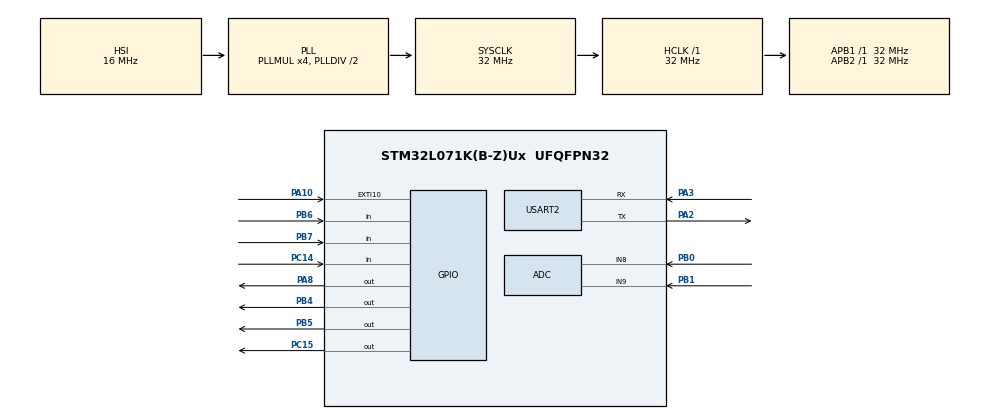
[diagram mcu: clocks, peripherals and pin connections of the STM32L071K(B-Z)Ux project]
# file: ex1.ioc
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ADC.DiscontinuousConvMode=ENABLE
Dma.MEMTOMEM.0.Direction=DMA_MEMORY_TO_MEMORY
Dma.MEMTOMEM.0.Instance=DMA1_Channel1
Dma.MEMTOMEM.0.MemDataAlignment=DMA_MDATAALIGN_BYTE
Dma.MEMTOMEM.0.MemInc=DMA_MINC_ENABLE
Dma.MEMTOMEM.0.Mode=DMA_NORMAL
Dma.MEMTOMEM.0.PeriphDataAlignment=DMA_PDATAALIGN_BYTE
Dma.MEMTOMEM.0.PeriphInc=DMA_PINC_ENABLE
Dma.MEMTOMEM.0.Priority=DMA_PRIORITY_LOW
Dma.Request0=MEMTOMEM
Dma.Request1=USART2_RX
Dma.USART2_RX.1.Direction=DMA_PERIPH_TO_MEMORY
Dma.USART2_RX.1.Instance=DMA1_Channel5
Dma.USART2_RX.1.MemDataAlignment=DMA_MDATAALIGN_BYTE
Dma.USART2_RX.1.MemInc=DMA_MINC_ENABLE
Dma.USART2_RX.1.Mode=DMA_CIRCULAR
Dma.USART2_RX.1.PeriphDataAlignment=DMA_PDATAALIGN_BYTE
Dma.USART2_RX.1.PeriphInc=DMA_PINC_DISABLE
Dma.USART2_RX.1.Priority=DMA_PRIORITY_LOW
Mcu.Family=STM32L0
Mcu.Name=STM32L071K(B-Z)Ux
Mcu.Package=UFQFPN32
NVIC.ADC1_COMP_IRQn=true\:0\:0\:false\:false\:true\:true\:true
NVIC.DMA1_Channel1_IRQn=true\:0\:0\:false\:false\:true\:true\:true
NVIC.DMA1_Channel4_5_6_7_IRQn=true\:0\:0\:false\:false\:true\:false\:true
NVIC.EXTI4_15_IRQn=true\:0\:0\:false\:false\:true\:true\:true
NVIC.TIM6_IRQn=true\:0\:0\:false\:false\:true\:true\:true
NVIC.USART2_IRQn=true\:0\:0\:false\:false\:true\:true\:true
PA10.Signal=GPXTI10
PA13.Mode=Serial_Wire
PA13.Signal=SYS_SWDIO
PA14.Mode=Serial_Wire
PA14.Signal=SYS_SWCLK
PA2.Mode=Asynchronous
PA2.Signal=USART2_TX
PA3.Mode=Asynchronous
PA3.Signal=USART2_RX
PA8.Signal=GPIO_Output
PB0.Mode=IN8
PB0.Signal=ADC_IN8
PB1.Mode=IN9
PB1.Signal=ADC_IN9
PB4.Signal=GPIO_Output
PB5.Signal=GPIO_Output
PB6.Signal=GPIO_Input
PB7.Signal=GPIO_Input
PC14-OSC32_IN.Signal=GPIO_Input
PC15-OSC32_OUT.Signal=GPIO_Output
ProjectManager.HeapSize=0x200
ProjectManager.StackSize=0x400
ProjectManager.TargetToolchain=MDK-ARM V5
RCC.AHBFreq_Value=32000000
RCC.APB1Freq_Value=32000000
RCC.APB1TimFreq_Value=32000000
RCC.APB2Freq_Value=32000000
RCC.APB2TimFreq_Value=32000000
RCC.HCLKFreq_Value=32000000
RCC.HSI16_VALUE=16000000
RCC.HSI_VALUE=16000000
RCC.LSE_VALUE=32768
RCC.MSI_VALUE=2097000
RCC.PLLMUL=RCC_PLLMUL_4
RCC.SYSCLKFreq_VALUE=32000000
RCC.SYSCLKSource=RCC_SYSCLKSOURCE_PLLCLK
RCC.VCOOutputFreq_Value=64000000
RTC.Format=RTC_FORMAT_BIN
RTC.SynchPrediv=307
TIM6.Period=999
TIM6.Prescaler=31
USART2.VirtualMode-Asynchronous=VM_ASYNC
VP_CRC_VS_CRC.Mode=CRC_Activate
VP_RTC_VS_RTC_Activate.Mode=RTC_Enabled
VP_RTC_VS_RTC_Calendar.Mode=RTC_Calendar
VP_TIM6_VS_ClockSourceINT.Mode=Enable_Timer
board=custom

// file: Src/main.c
/* USER CODE BEGIN Header */
/**
  ******************************************************************************
  * @file           : main.c
  * @brief          : Main program body
  ******************************************************************************
  * @attention
  *
  * <h2><center>&copy; Copyright (c) 2019 STMicroelectronics.
  * All rights reserved.</center></h2>
  *
  * This software component is licensed by ST under BSD 3-Clause license,
  * the "License"; You may not use this file except in compliance with the
  * License. You may obtain a copy of the License at:
  *                        opensource.org/licenses/BSD-3-Clause
  *
  ******************************************************************************
  */
/* USER CODE END Header */

#include "main.h"
#include "adc.h"
#include "crc.h"
#include "dma.h"
#include "rtc.h"
#include "tim.h"
#include "usart.h"
#include "gpio.h"

/* USER CODE BEGIN Includes */
#include "stm32l0xx_hal.h"
#include "zm4xx_gpio.h"
#include "spi.h"
#include "timer.h"
#include "stddef.h"
#include "sx127x_lora.h"

/* USER CODE END Includes */

/* USER CODE BEGIN PTD */
#define FREQ  (433000000)
void SystemClock_Config(void);
void Hardware_Init(void);
radio_handle_t  handle;
int ret = RADIO_RET_OK;

    uint16_t len = 0;
		uint8_t rx[100];
		uint8_t tx = 0x55;
		uint8_t cntr = 0;
	unsigned int time_i=0,time_100ms=1,time_800ms=1;
	unsigned int lora_flag=0;
	unsigned int key_flag=1;
	unsigned int oled_x1=0,oled_x2=0;
	float value[2];
	char lcdLine_1st_line[16];
  char lcdLine_2st_line[16];
/* USER CODE END PTD */

void SystemClock_Config(void);

/* USER CODE BEGIN 0 */
void Task_BrdInit(void)
{
    HAL_GPIO_WritePin(GPIOC, GPIO_PIN_15, GPIO_PIN_SET);

    OLED_PowerControl(ENABLE);

    HAL_Delay(200);
    OLED_Init();
    OLED_Clear();

    OLED_ShowString(0, 0, (unsigned char *)"                ", 16);
    OLED_ShowString(0, 2, (unsigned char *)"                ", 16);
}
void LoRa_Init(void)
{

	handle = radio_zm4xx_inst_init(spi_recv_byte,spi_send_byte,zm4xx_rst_pin_set,zm4xx_sel_pin_set,delay_ms,delay_us);

	if(handle != NULL){
		if(RADIO_RET_OK == radio_freq_set(handle, FREQ)){
				HAL_GPIO_WritePin(GPIOC, GPIO_PIN_15,GPIO_PIN_RESET);
		}

		radio_mode_set(handle, RX_MODE);	//Receive Mode
	}
}
void key(void);
void key_scan(void);
void node(void);
/* USER CODE END 0 */

int main(void)
{

  /* MCU Configuration--------------------------------------------------------*/

  /* Reset of all peripherals, Initializes the Flash interface and the Systick. */
  HAL_Init();

  /* Configure the system clock */
  SystemClock_Config();

  /* Initialize all configured peripherals */
  MX_GPIO_Init();
  MX_DMA_Init();
  MX_CRC_Init();
  MX_USART2_UART_Init();
  MX_RTC_Init();
  MX_TIM6_Init();
  MX_ADC_Init();
  /* USER CODE BEGIN 2 */
    Task_BrdInit();
		zm4xx_pin_init(); //LORA��Ҫ
    spi_init();//LORA��Ҫ
		LoRa_Init();
		HAL_TIM_Base_Start_IT(&htim6);
  /* USER CODE END 2 */

  /* Infinite loop */
    while (1)
    {

    /* USER CODE BEGIN 3 */
			if(time_800ms==1)
			{
				HAL_RTC_GetTime(&hrtc, &sTime, RTC_FORMAT_BIN);
				HAL_RTC_GetDate(&hrtc, &sDate, RTC_FORMAT_BIN);
				time_800ms=0;
			}
			if(time_100ms==1)
			{
				for(int i=0;i<=1;i++)
				{
					HAL_ADC_Start(&hadc);
					value[i]=HAL_ADC_GetValue(&hadc)*3.3/4095;
				}
				OLED_ShowString(oled_x1, 0, (unsigned char *)lcdLine_1st_line, 16);
				OLED_ShowString(oled_x2, 2, (unsigned char *)lcdLine_2st_line, 16);
				time_100ms=0;
			}
			key();
			node();
    }
  /* USER CODE END 3 */
}
/* USER CODE BEGIN 4 */
void node()
{
	int hour,min,sec;
	if(lora_flag==1)
	{
		sscanf((char *)rx,"%d-%d-%d",&hour,&min,&sec);
		sTime.Hours=hour;
		sTime.Minutes=min;
		sTime.Seconds=sec;
		HAL_RTC_SetTime(&hrtc, &sTime, RTC_FORMAT_BIN);
		lora_flag=0;
	}
}
void key()
{
	if(key_flag==1)
	{
		sprintf(lcdLine_1st_line, "RTC");
		sprintf(lcdLine_2st_line, "%2d-%2d-%2d",sTime.Hours,sTime.Minutes,sTime.Seconds);
		oled_x1=56;
		oled_x2=32;
	}
	if(key_flag==0)
	{
		sprintf(lcdLine_1st_line, "V1:%.2fV",value[0]);
		sprintf(lcdLine_2st_line, "V2:%.2fV",value[1]);
		oled_x1=32;
		oled_x2=32;
	}
}
void key_scan()
{
	static unsigned int i;
	if(HAL_GPIO_ReadPin(GPIOC, GPIO_PIN_14)==0)
	{
		i++;
		if(i>2)
		{
			key_flag=!key_flag;
			i=0;
		}
	}
}
void HAL_TIM_PeriodElapsedCallback(TIM_HandleTypeDef *htim)
{
	if(htim->Instance==TIM6)
	{
		time_i++;
		if(time_i==9999)	time_i=0;
		if(time_i%6==0)	key_scan();
		if(time_i%100==0)	time_100ms=!time_100ms;
		if(time_i%800==0)	time_800ms=!time_800ms;
	}
}
void HAL_GPIO_EXTI_Callback(uint16_t GPIO_Pin)
{
	if(GPIO_Pin==GPIO_PIN_10)
	{
		ret = radio_buf_recv(handle, rx, &len);
		lora_flag=1;
	}
}
//ret = radio_buf_recv(handle, &rx, &len);
//			if(ret == RADIO_RET_OK){
//				if(rx == 0xAA){
//						HAL_GPIO_TogglePin(GPIOC, GPIO_PIN_15);
//				}
//			}
//
//			if(++cntr == 40){
//				radio_buf_send(handle, &tx, 1); 	//
//				radio_mode_set(handle, RX_MODE);
//				cntr = 0;
//			}
/* USER CODE END 4 */
void SystemClock_Config(void)
{
  RCC_OscInitTypeDef RCC_OscInitStruct = {0};
  RCC_ClkInitTypeDef RCC_ClkInitStruct = {0};
  RCC_PeriphCLKInitTypeDef PeriphClkInit = {0};

  /** Configure the main internal regulator output voltage
  */
  __HAL_PWR_VOLTAGESCALING_CONFIG(PWR_REGULATOR_VOLTAGE_SCALE1);
  /** Initializes the CPU, AHB and APB busses clocks
  */
  RCC_OscInitStruct.OscillatorType = RCC_OSCILLATORTYPE_HSI|RCC_OSCILLATORTYPE_LSI;
  RCC_OscInitStruct.HSIState = RCC_HSI_ON;
  RCC_OscInitStruct.HSICalibrationValue = RCC_HSICALIBRATION_DEFAULT;
  RCC_OscInitStruct.LSIState = RCC_LSI_ON;
  RCC_OscInitStruct.PLL.PLLState = RCC_PLL_ON;
  RCC_OscInitStruct.PLL.PLLSource = RCC_PLLSOURCE_HSI;
  RCC_OscInitStruct.PLL.PLLMUL = RCC_PLLMUL_4;
  RCC_OscInitStruct.PLL.PLLDIV = RCC_PLLDIV_2;
  if (HAL_RCC_OscConfig(&RCC_OscInitStruct) != HAL_OK)
  {
    Error_Handler();
  }
  /** Initializes the CPU, AHB and APB busses clocks
  */
  RCC_ClkInitStruct.ClockType = RCC_CLOCKTYPE_HCLK|RCC_CLOCKTYPE_SYSCLK
                              |RCC_CLOCKTYPE_PCLK1|RCC_CLOCKTYPE_PCLK2;
  RCC_ClkInitStruct.SYSCLKSource = RCC_SYSCLKSOURCE_PLLCLK;
  RCC_ClkInitStruct.AHBCLKDivider = RCC_SYSCLK_DIV1;
  RCC_ClkInitStruct.APB1CLKDivider = RCC_HCLK_DIV1;
  RCC_ClkInitStruct.APB2CLKDivider = RCC_HCLK_DIV1;

  if (HAL_RCC_ClockConfig(&RCC_ClkInitStruct, FLASH_LATENCY_1) != HAL_OK)
  {
    Error_Handler();
  }
  PeriphClkInit.PeriphClockSelection = RCC_PERIPHCLK_USART2|RCC_PERIPHCLK_RTC;
  PeriphClkInit.Usart2ClockSelection = RCC_USART2CLKSOURCE_PCLK1;
  PeriphClkInit.RTCClockSelection = RCC_RTCCLKSOURCE_LSI;
  if (HAL_RCCEx_PeriphCLKConfig(&PeriphClkInit) != HAL_OK)
  {
    Error_Handler();
  }
}

void Error_Handler(void)
{
}

/************************ (C) COPYRIGHT STMicroelectronics *****END OF FILE****/
